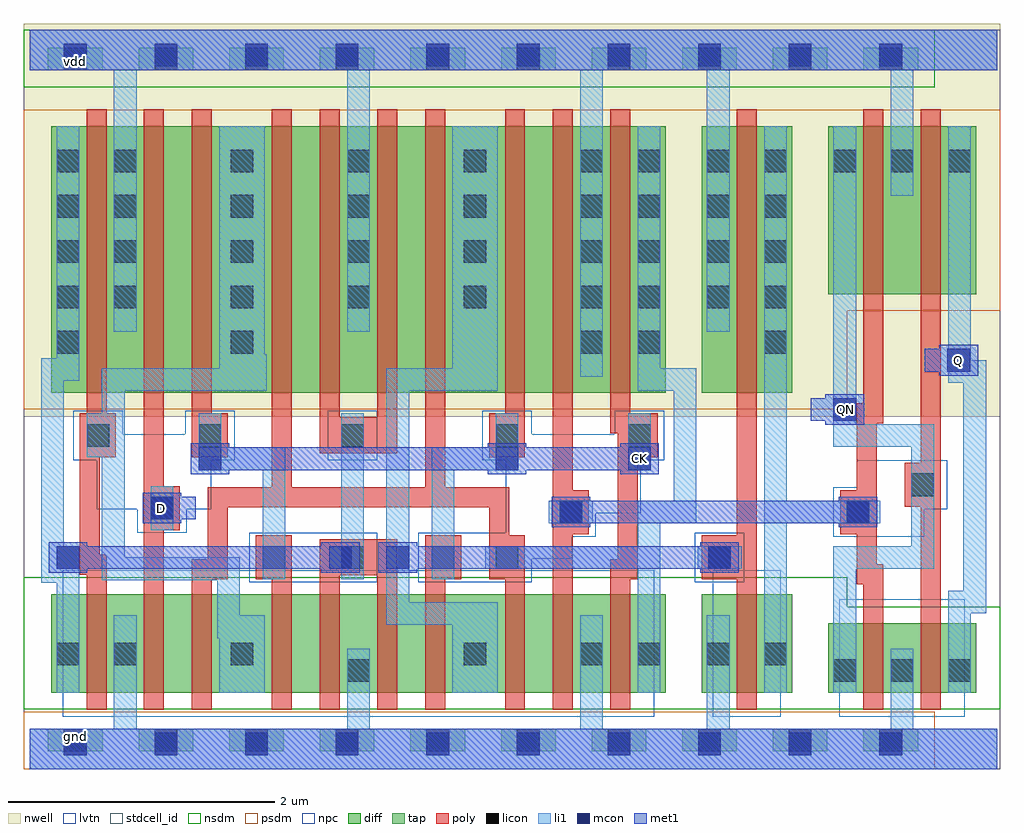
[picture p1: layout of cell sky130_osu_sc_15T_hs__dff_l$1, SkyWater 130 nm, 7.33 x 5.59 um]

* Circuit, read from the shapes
.subckt sky130_osu_sc_15T_hs__dff_l$1 CK D Q QN gnd vdd
XM1 gnd n1 n2 gnd sky130_fd_pr__nfet_01v8_lvt w=0.74 l=0.15
XM2 n3 D gnd gnd sky130_fd_pr__nfet_01v8_lvt w=0.74 l=0.15
XM3 n1 n4 n3 gnd sky130_fd_pr__nfet_01v8_lvt w=0.74 l=0.15
XM4 n5 CK n1 gnd sky130_fd_pr__nfet_01v8_lvt w=0.74 l=0.15
XM5 gnd n2 n5 gnd sky130_fd_pr__nfet_01v8_lvt w=0.74 l=0.15
XM6 n6 n2 gnd gnd sky130_fd_pr__nfet_01v8_lvt w=0.74 l=0.15
XM7 n7 CK n6 gnd sky130_fd_pr__nfet_01v8_lvt w=0.74 l=0.15
XM8 n8 n4 n7 gnd sky130_fd_pr__nfet_01v8_lvt w=0.74 l=0.15
XM9 gnd n9 n8 gnd sky130_fd_pr__nfet_01v8_lvt w=0.74 l=0.15
XM10 n4 CK gnd gnd sky130_fd_pr__nfet_01v8_lvt w=0.74 l=0.15
XM11 n9 n7 gnd gnd sky130_fd_pr__nfet_01v8_lvt w=0.74 l=0.15
XM12 gnd n9 QN gnd sky130_fd_pr__nfet_01v8_lvt w=0.52 l=0.15
XM13 Q QN gnd gnd sky130_fd_pr__nfet_01v8_lvt w=0.52 l=0.15
XM14 vdd n1 n2 vdd sky130_fd_pr__pfet_01v8 w=2 l=0.15
XM15 n10 D vdd vdd sky130_fd_pr__pfet_01v8 w=2 l=0.15
XM16 n1 CK n10 vdd sky130_fd_pr__pfet_01v8 w=2 l=0.15
XM17 n11 n4 n1 vdd sky130_fd_pr__pfet_01v8 w=2 l=0.15
XM18 vdd n2 n11 vdd sky130_fd_pr__pfet_01v8 w=2 l=0.15
XM19 n12 n2 vdd vdd sky130_fd_pr__pfet_01v8 w=2 l=0.15
XM20 n7 n4 n12 vdd sky130_fd_pr__pfet_01v8 w=2 l=0.15
XM21 n13 CK n7 vdd sky130_fd_pr__pfet_01v8 w=2 l=0.15
XM22 vdd n9 n13 vdd sky130_fd_pr__pfet_01v8 w=2 l=0.15
XM23 n4 CK vdd vdd sky130_fd_pr__pfet_01v8 w=2 l=0.15
XM24 n9 n7 vdd vdd sky130_fd_pr__pfet_01v8 w=2 l=0.15
XM25 vdd n9 QN vdd sky130_fd_pr__pfet_01v8 w=1.26 l=0.15
XM26 Q QN vdd vdd sky130_fd_pr__pfet_01v8 w=1.26 l=0.15
.ends

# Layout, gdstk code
import gdstk
lib = gdstk.Library(unit=1e-6, precision=1e-09)
def R(c, l, rs):  # rectangles x0, y0, x1, y1
    for r in rs: c.add(gdstk.rectangle(r[:2], r[2:], *l))
def A(c, l, x, y, w, h, nx, ny, dx, dy):  # array of equal rectangles
    R(c, l, [(x+i*dx, y+j*dy, x+i*dx+w, y+j*dy+h) for i in range(nx) for j in range(ny)])
nwell = (64, 20)
diff = (65, 20)
tap = (65, 44)
poly = (66, 20)
licon = (66, 44)
li1 = (67, 20)
mcon = (67, 44)
met1 = (68, 20)
stdcell_id = (81, 4)
nsdm = (93, 44)
psdm = (94, 20)
npc = (95, 20)
lvtn = (125, 44)

sky130_osu_sc_15t_hs__df = lib.new_cell('sky130_osu_sc_15T_hs__dff_l$1')
R(sky130_osu_sc_15t_hs__df, nwell, [(-0.045,2.645,7.28,5.595)])
R(sky130_osu_sc_15t_hs__df, diff, [(0.16,0.575,4.77,1.315), (5.04,0.575,5.72,1.315), (5.99,0.575,7.1,1.095), (0.16,2.825,4.77,4.825), (5.04,2.825,5.72,4.825), (5.99,3.565,7.1,4.825)])
A(sky130_osu_sc_15t_hs__df, tap, 0.135, 0.135, 0.41, 0.17, 10, 2, 0.68, 5.11)
R(sky130_osu_sc_15t_hs__df, poly, [(0.425,0.445,0.575,1.46), (0.855,0.445,1.005,1.795), (1.215,0.445,1.365,1.425), (1.815,0.445,1.965,1.425), (2.175,0.445,2.325,1.455), (2.605,0.445,2.755,1.455), (2.965,0.445,3.115,1.425), (3.565,0.445,3.715,1.425), (3.925,0.445,4.075,1.765), (4.355,0.445,4.505,1.425), (5.305,0.445,5.455,1.425), (6.255,0.445,6.405,1.39), (6.685,0.445,6.835,1.97), (6.205,1.39,6.405,1.54), (1.215,1.425,1.485,1.575), (1.695,1.425,1.965,1.755), (2.965,1.425,3.235,1.755), (3.445,1.425,3.715,1.755), (4.355,1.425,4.56,1.575), (5.04,1.425,5.455,1.755), (2.175,1.455,2.755,1.725), (0.375,1.46,0.575,1.61), (6.205,1.54,6.355,1.765), (1.335,1.575,1.485,1.965), (4.41,1.575,4.56,2.34), (0.375,1.61,0.525,2.34), (3.445,1.755,3.595,1.965), (5.305,1.755,5.455,4.955), (3.925,1.765,4.195,2.095), (6.08,1.765,6.355,2.095), (0.855,1.795,1.125,2.125), (1.335,1.965,3.595,2.115), (6.565,1.97,6.835,2.3), (3.925,2.095,4.075,4.955), (6.205,2.095,6.355,2.595), (1.815,2.115,1.965,4.955), (2.965,2.115,3.115,4.955), (0.855,2.125,1.005,4.955), (6.685,2.3,6.835,4.955), (0.375,2.34,0.645,2.67), (1.215,2.34,1.485,2.67), (3.445,2.34,3.715,2.67), (4.41,2.34,4.71,2.52), (2.175,2.37,2.755,2.64), (4.355,2.52,4.71,2.67), (6.205,2.595,6.405,2.745), (2.175,2.64,2.325,4.955), (2.605,2.64,2.755,4.955), (0.425,2.67,0.575,4.955), (1.215,2.67,1.365,4.955), (3.565,2.67,3.715,4.955), (4.355,2.67,4.505,4.955), (6.255,2.745,6.405,4.955)])
A(sky130_osu_sc_15t_hs__df, licon, 0.255, 0.135, 0.17, 0.17, 10, 2, 0.68, 5.11)
A(sky130_osu_sc_15t_hs__df, licon, 6.03, 0.655, 0.17, 0.17, 3, 2, 0.43, 3.825)
A(sky130_osu_sc_15t_hs__df, licon, 0.2, 3.12, 0.17, 0.17, 1, 5, 0, 0.34)
A(sky130_osu_sc_15t_hs__df, licon, 4.56, 3.12, 0.17, 0.17, 1, 5, 0, 0.34)
A(sky130_osu_sc_15t_hs__df, licon, 5.51, 3.12, 0.17, 0.17, 1, 5, 0, 0.34)
A(sky130_osu_sc_15t_hs__df, licon, 0.63, 3.46, 0.17, 0.17, 5, 4, 0.875, 0.34)
A(sky130_osu_sc_15t_hs__df, licon, 5.08, 3.46, 0.17, 0.17, 1, 4, 0, 0.34)
R(sky130_osu_sc_15t_hs__df, licon, [(2.38,0.655,2.55,0.825), (0.2,0.78,0.37,0.95), (0.63,0.78,0.8,0.95), (1.505,0.78,1.675,0.95), (3.255,0.78,3.425,0.95), (4.13,0.78,4.3,0.95), (4.56,0.78,4.73,0.95), (5.08,0.78,5.25,0.95), (5.51,0.78,5.68,0.95), (1.745,1.505,1.915,1.675), (2.335,1.505,2.505,1.675), (3.015,1.505,3.185,1.675), (3.495,1.505,3.665,1.675), (5.09,1.505,5.26,1.675), (3.975,1.845,4.145,2.015), (6.13,1.845,6.3,2.015), (0.905,1.875,1.075,2.045), (6.615,2.05,6.785,2.22), (0.425,2.42,0.595,2.59), (1.265,2.42,1.435,2.59), (2.335,2.42,2.505,2.59), (3.495,2.42,3.665,2.59), (4.49,2.42,4.66,2.59), (1.505,3.12,1.675,3.29), (4.13,3.12,4.3,3.29)])
R(sky130_osu_sc_15t_hs__df, li1, [(0,0,7.26,0.305), (0.63,0.305,0.8,1.155), (2.38,0.305,2.55,0.905), (4.13,0.305,4.3,1.155), (5.08,0.305,5.25,1.155), (6.46,0.305,6.63,0.905), (0.2,0.575,0.37,1.4), (1.42,0.575,1.76,0.985), (3.17,0.575,3.51,1.085), (4.56,0.575,4.73,1.505), (5.51,0.575,5.68,1.845), (6.03,0.575,6.2,1.505), (6.89,0.575,7.06,1.17), (1.405,0.985,1.76,1.155), (2.675,1.085,3.51,1.255), (1.405,1.155,1.575,1.42), (6.89,1.17,7.175,1.34), (2.675,1.255,2.845,2.84), (7.005,1.34,7.175,2.9), (0.085,1.4,0.37,1.675), (0.54,1.42,1.575,1.59), (1.745,1.425,1.915,2.245), (2.335,1.425,2.505,1.505), (3.015,1.425,3.185,2.245), (2.245,1.505,2.505,1.675), (3.415,1.505,4.73,1.675), (5.01,1.505,5.34,1.675), (6.03,1.505,6.785,1.675), (0.54,1.59,0.71,2.34), (0.085,1.675,0.255,2.915), (2.335,1.675,2.505,2.67), (4.56,1.675,4.73,1.845), (6.615,1.675,6.785,2.42), (0.905,1.795,1.075,2.125), (3.895,1.845,4.225,2.015), (4.56,1.845,5,2.015), (5.51,1.845,6.38,2.015), (4.83,2.015,5,2.84), (5.51,2.015,5.68,4.825), (1.265,2.245,1.915,2.415), (3.015,2.245,3.665,2.415), (4.49,2.245,4.66,2.67), (0.425,2.34,0.71,2.67), (1.265,2.415,1.435,2.67), (3.495,2.415,3.665,2.67), (6.03,2.42,6.785,2.59), (6.03,2.59,6.2,4.825), (0.54,2.67,0.71,2.84), (0.54,2.84,1.775,3.01), (2.675,2.84,3.51,3.01), (4.56,2.84,5,3.01), (6.89,2.9,7.175,2.985), (0.085,2.915,0.37,3.085), (4.13,2.945,4.3,5.245), (6.885,2.985,7.175,3.07), (1.42,3.01,1.775,3.115), (3.17,3.01,3.51,4.825), (4.56,3.01,4.73,4.825), (6.885,3.07,7.06,3.155), (0.2,3.085,0.37,4.825), (1.42,3.115,1.76,4.825), (6.89,3.155,7.06,4.825), (0.63,3.285,0.8,5.245), (2.38,3.285,2.55,5.245), (5.08,3.285,5.25,5.245), (6.46,4.305,6.63,5.245), (0,5.245,7.26,5.55)])
A(sky130_osu_sc_15t_hs__df, mcon, 0.255, 0.105, 0.17, 0.17, 10, 2, 0.68, 5.17)
R(sky130_osu_sc_15t_hs__df, mcon, [(0.2,1.505,0.37,1.675), (2.245,1.505,2.415,1.675), (2.675,1.505,2.845,1.675), (5.09,1.505,5.26,1.675), (3.975,1.845,4.145,2.015), (6.13,1.845,6.3,2.015), (0.905,1.875,1.075,2.045), (1.265,2.245,1.435,2.415), (3.495,2.245,3.665,2.415), (4.49,2.245,4.66,2.415), (6.03,2.615,6.2,2.785), (6.885,2.985,7.055,3.155)])
R(sky130_osu_sc_15t_hs__df, met1, [(0,0,7.26,0.305), (0.14,1.475,0.43,1.505), (2.185,1.475,2.475,1.505), (2.615,1.475,2.905,1.505), (5.03,1.475,5.32,1.505), (0.14,1.505,2.475,1.675), (2.615,1.505,5.32,1.675), (0.14,1.675,0.43,1.705), (2.185,1.675,2.475,1.705), (2.615,1.675,2.905,1.705), (5.03,1.675,5.32,1.705), (3.915,1.815,4.205,1.845), (6.07,1.815,6.36,1.845), (0.845,1.845,1.135,1.875), (3.915,1.845,6.36,2.015), (0.845,1.875,1.245,2.045), (3.915,2.015,4.205,2.045), (6.07,2.015,6.36,2.045), (0.845,2.045,1.135,2.075), (1.205,2.215,1.495,2.245), (3.435,2.215,3.725,2.245), (4.43,2.215,4.72,2.245), (1.205,2.245,4.72,2.415), (1.205,2.415,1.495,2.445), (3.435,2.415,3.725,2.445), (4.43,2.415,4.72,2.445), (5.97,2.585,6.26,2.615), (5.86,2.615,6.26,2.785), (5.97,2.785,6.26,2.815), (6.825,2.955,7.115,2.985), (6.715,2.985,7.115,3.155), (6.825,3.155,7.115,3.185), (0,5.245,7.26,5.55)])
R(sky130_osu_sc_15t_hs__df, stdcell_id, [(-0.045,0,7.28,5.55)])
R(sky130_osu_sc_15t_hs__df, nsdm, [(-0.045,0.45,7.28,1.22), (-0.045,1.22,6.135,1.44), (-0.045,5.12,6.79,5.55)])
R(sky130_osu_sc_15t_hs__df, psdm, [(-0.045,0,6.79,0.43), (-0.045,2.7,6.135,3.44), (-0.045,3.44,7.28,4.95)])
R(sky130_osu_sc_15t_hs__df, npc, [(1.645,1.405,2.605,1.775), (2.915,1.405,3.765,1.58), (4.99,1.405,5.36,1.775), (2.915,1.58,4.07,1.745), (2.915,1.745,4.245,1.775), (6.03,1.745,6.71,1.95), (0.805,1.775,1.175,1.95), (3.57,1.775,4.245,1.92), (3.57,1.92,4.585,2.32), (0.5,1.95,1.36,2.32), (6.03,1.95,6.885,2.115), (6.205,2.115,6.885,2.32), (0.325,2.32,1.535,2.515), (2.235,2.32,2.605,2.69), (3.395,2.32,4.76,2.515), (0.325,2.515,0.695,2.69), (1.165,2.515,1.535,2.69), (3.395,2.515,3.765,2.69), (4.39,2.515,4.76,2.69)])
R(sky130_osu_sc_15t_hs__df, lvtn, [(0.245,0.395,4.685,1.495), (5.125,0.395,5.635,1.495), (6.075,0.395,7.015,1.275)])
sky130_osu_sc_15t_hs__df.add(gdstk.Label('gnd', (0.34,0.245), layer=68, texttype=16))
sky130_osu_sc_15t_hs__df.add(gdstk.Label('vdd', (0.34,5.315), layer=68, texttype=16))
sky130_osu_sc_15t_hs__df.add(gdstk.Label('D', (0.99,1.96), layer=68, texttype=5))
sky130_osu_sc_15t_hs__df.add(gdstk.Label('Q', (6.97,3.07), layer=68, texttype=5))
sky130_osu_sc_15t_hs__df.add(gdstk.Label('QN', (6.12,2.7), layer=68, texttype=5))
sky130_osu_sc_15t_hs__df.add(gdstk.Label('CK', (4.575,2.33), layer=68, texttype=5))

lib.write_gds('sky130_osu_sc_15T_hs__dff_l_1.gds')
